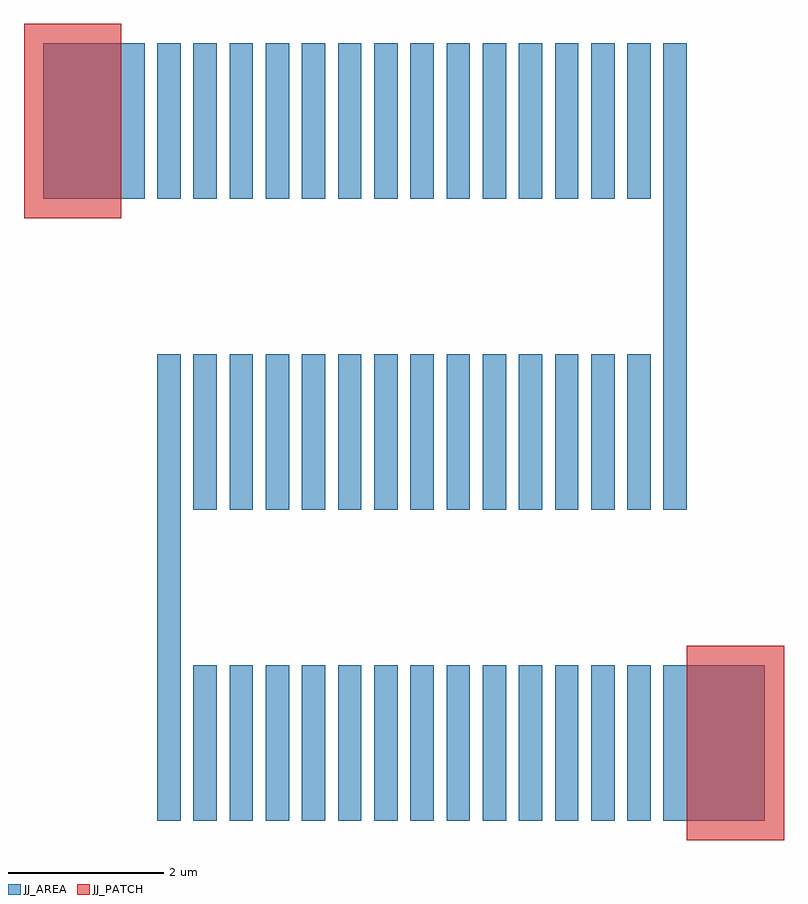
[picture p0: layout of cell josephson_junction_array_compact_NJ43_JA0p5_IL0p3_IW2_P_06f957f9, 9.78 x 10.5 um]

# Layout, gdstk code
import gdstk
lib = gdstk.Library(unit=1e-6, precision=1e-09)
def R(c, l, rs):  # rectangles x0, y0, x1, y1
    for r in rs: c.add(gdstk.rectangle(r[:2], r[2:], *l))
def A(c, l, x, y, w, h, nx, ny, dx, dy):  # array of equal rectangles
    R(c, l, [(x+i*dx, y+j*dy, x+i*dx+w, y+j*dy+h) for i in range(nx) for j in range(ny)])
JJ_AREA = (20, 0)
JJ_PATCH = (20, 1)

josephson_junction_array = lib.new_cell('josephson_junction_array_compact_NJ43_JA0p5_IL0p3_IW2_P_06f957f9')
A(josephson_junction_array, JJ_AREA, 0.78, -9, 0.3, 2, 13, 2, 0.465, 4)
A(josephson_junction_array, JJ_AREA, 0.315, -1, 0.3, 2, 14, 1, 0.465, 0)
R(josephson_junction_array, JJ_AREA, [(0.315,-9,0.615,-3), (6.825,-9,8.125,-7), (6.825,-5,7.125,1), (-1.15,-1,0.15,1)])
R(josephson_junction_array, JJ_PATCH, [(7.125,-9.25,8.375,-6.75), (-1.4,-1.25,-0.15,1.25)])

lib.write_gds('josephson_junction_array_compact_NJ43_JA0p5_IL0p3_IW2_P_06f957f9.gds')
